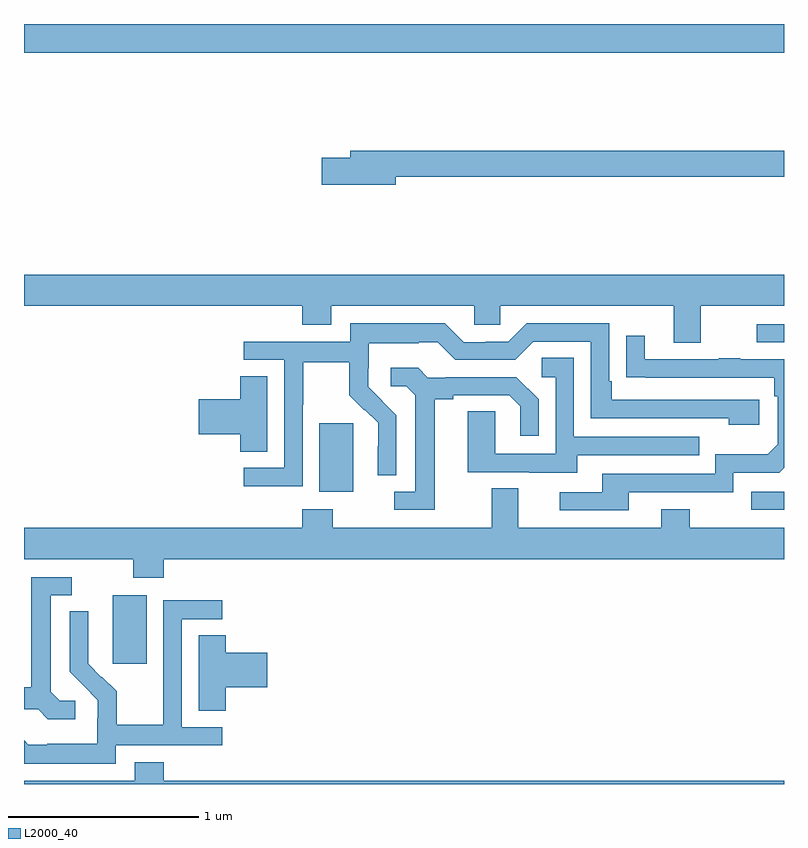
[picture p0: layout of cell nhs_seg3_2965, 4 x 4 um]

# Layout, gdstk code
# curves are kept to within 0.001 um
import gdstk
lib = gdstk.Library(unit=1e-6, precision=1e-09)
def R(c, l, rs):  # rectangles x0, y0, x1, y1
    for r in rs: c.add(gdstk.rectangle(r[:2], r[2:], *l))
def P(c, l, *ps):  # polygons
    for p in ps: c.add(gdstk.Polygon(p, *l))
L2000_40 = (2000, 40)

nhs_seg3_2965 = lib.new_cell('nhs_seg3_2965')
R(nhs_seg3_2965, L2000_40, [(265.466,699.033,265.645,699.394), (268.827,699.843,269,699.939), (266.555,699.938,266.734,700.299), (268.857,700.725,269,700.821), (265,702.248,269,702.4)])
P(nhs_seg3_2965, L2000_40, [(266.956,701.596),(269,701.596),(269,701.732),(266.717,701.732),(266.717,701.696),(266.568,701.696),(266.568,701.554),(266.956,701.554)],
  [(268.561,700.916),(269,700.916),(269,701.08),(265,701.08),(265,700.916),(266.465,700.916),(266.465,700.817),(266.617,700.817),(266.617,700.916),(267.369,700.916),(267.369,700.818),(267.507,700.818),(267.507,700.916),(268.421,700.916),(268.421,700.722),(268.561,700.722)],
  [(266.466,700.396),(266.469,700.396),(266.469,700.62),(266.713,700.62),(266.713,700.445),(266.79,700.368),(266.793,700.371),(266.864,700.301),(266.864,700.178),(266.862,700.178),(266.862,700.024),(266.958,700.024),(266.958,700.342),(266.812,700.49),(266.812,700.587),(266.814,700.587),(266.814,700.721),(267.077,700.721),(267.077,700.725),(267.177,700.725),(267.27,700.632),(267.585,700.632),(267.681,700.728),(267.984,700.728),(267.984,700.326),(268.709,700.326),(268.709,700.292),(268.87,700.292),(268.87,700.422),(268.093,700.422),(268.093,700.519),(268.08,700.519),(268.08,700.824),(267.645,700.824),(267.549,700.728),(267.431,700.728),(267.431,700.725),(267.315,700.725),(267.215,700.825),(266.718,700.825),(266.718,700.728),(266.157,700.728),(266.157,700.632),(266.37,700.632),(266.37,700.065),(266.157,700.065),(266.157,699.967),(266.466,699.967)],
  [(268.183,699.936),(268.734,699.936),(268.734,700.038),(268.974,700.038),(269,700.064),(269,700.635),(268.769,700.635),(268.769,700.64),(268.657,700.64),(268.657,700.635),(268.267,700.635),(268.267,700.759),(268.171,700.759),(268.171,700.54),(268.948,700.539),(268.948,700.442),(268.968,700.442),(268.968,700.188),(268.915,700.135),(268.638,700.135),(268.638,700.032),(268.043,700.032),(268.043,699.936),(267.819,699.936),(267.819,699.84),(268.183,699.84)],
  [(267.913,700.131),(268.553,700.131),(268.553,700.227),(267.894,700.227),(267.894,700.643),(267.726,700.643),(267.726,700.542),(267.798,700.542),(267.798,700.137),(267.48,700.137),(267.48,700.361),(267.335,700.361),(267.335,700.041),(267.659,700.041),(267.659,700.037),(267.913,700.037)],
  [(267.163,700.424),(267.259,700.424),(267.259,700.446),(267.554,700.446),(267.611,700.389),(267.611,700.233),(267.708,700.233),(267.708,700.426),(267.592,700.542),(267.22,700.542),(267.22,700.539),(267.126,700.539),(267.074,700.591),(266.931,700.591),(266.931,700.494),(267.012,700.494),(267.059,700.447),(267.059,699.939),(266.949,699.939),(266.949,699.843),(267.163,699.843)],
  [(266.281,700.547),(266.138,700.547),(266.138,700.424),(265.92,700.424),(265.92,700.241),(266.138,700.241),(266.138,700.15),(266.281,700.15)],
  [(265.736,699.584),(269,699.584),(269,699.748),(268.503,699.748),(268.503,699.847),(268.355,699.847),(268.355,699.748),(267.601,699.748),(267.601,699.956),(267.461,699.956),(267.461,699.748),(266.625,699.748),(266.625,699.847),(266.465,699.847),(266.465,699.748),(265,699.748),(265,699.584),(265.576,699.584),(265.576,699.485),(265.736,699.485)],
  [(265.27,698.838),(265.188,698.838),(265.141,698.885),(265.141,699.393),(265.252,699.393),(265.252,699.489),(265.037,699.489),(265.037,698.909),(265,698.909),(265,698.793),(265.074,698.793),(265.126,698.741),(265.27,698.741)],
  [(265.482,698.604),(266.044,698.604),(266.044,698.7),(265.83,698.7),(265.83,699.267),(266.044,699.267),(266.044,699.366),(265.734,699.366),(265.734,698.936),(265.732,698.936),(265.732,698.713),(265.487,698.713),(265.487,698.887),(265.41,698.964),(265.407,698.961),(265.337,699.032),(265.338,699.308),(265.242,699.308),(265.242,698.99),(265.388,698.842),(265.388,698.745),(265.386,698.745),(265.386,698.611),(265.123,698.611),(265.123,698.607),(265.023,698.607),(265,698.63),(265,698.507),(265.482,698.507)],
  [(266.063,698.909),(266.281,698.909),(266.281,699.092),(266.063,699.092),(266.063,699.182),(265.919,699.182),(265.919,698.785),(266.063,698.785)],
  [(269,698.416),(265.736,698.416),(265.736,698.515),(265.583,698.515),(265.583,698.416),(265,698.416),(265,698.4),(269,698.4)])

lib.write_gds('nhs_seg3_2965.gds')
